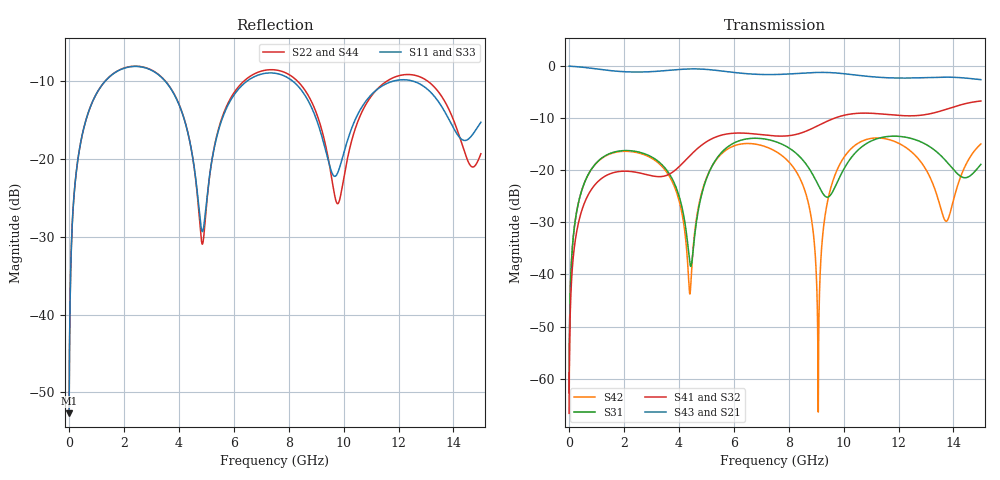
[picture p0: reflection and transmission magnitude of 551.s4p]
! Created with skrf 1.8.0 (http://scikit-rf.org).
# GHz S RI R 50.0
!freq ReS11 ImS11 ReS12 ImS12 ReS13 ImS13
! ReS14 ImS14
! ReS21 ImS21 ReS22 ImS22 ReS23 ImS23
! ReS24 ImS24
! ReS31 ImS31 ReS32 ImS32 ReS33 ImS33
! ReS34 ImS34
! ReS41 ImS41 ReS42 ImS42 ReS43 ImS43
! ReS44 ImS44
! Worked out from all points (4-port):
!   2499 points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, 5 MHz to 15 GHz, reference 50 ohm
!   strongest paths, dB at 5 MHz, 3.476 GHz, 7.19 GHz, 11.1 GHz, 15 GHz:
!     S43: 0.0, -0.9, -1.6, -2.1, -2.6
!     S21: 0.0, -0.9, -1.6, -2.1, -2.6
!     S41: -66.7, -21.1, -13.3, -9.1, -6.7
!     S32: -66.7, -21.1, -13.3, -9.1, -6.7
!     S31: -62.7, -19.4, -14.1, -14.2, -18.9
!     S42: -62.7, -19.8, -15.5, -13.8, -14.9
!   lowest |S11| = -52.7 dB at 5 MHz (marker M1), VSWR 1.00, Z = 50.2 + j0.141 ohm
!   |S11| at or under -10 dB: 3.504 GHz to 6.481 GHz (2.978 GHz wide, 59.6 % of centre); 8.149 GHz to 11.8 GHz (3.65 GHz wide, 36.6 % of centre); 12.53 GHz to end of sweep (the widest 3 of 4)
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0.005  0.00185 0.0014  0.9981 -0.00359  9.32e-05 0.000725  -9.05e-05 -0.000456
       0.9981 -0.00359  0.00185 0.0014  -9.05e-05 -0.000456  9.31e-05 0.000725
       9.32e-05 0.000725  -9.05e-05 -0.000456  0.00185 0.0014  0.9981 -0.00359
       -9.05e-05 -0.000456  9.31e-05 0.000725  0.9981 -0.00359  0.00185 0.0014
1.825761  0.3516 0.12  0.329 -0.8262  0.1516 0.0208  -0.0928 0.0294
          0.329 -0.8262  0.3535 0.1177  -0.0927 0.0292  0.1478 0.0301
          0.1516 0.0208  -0.0927 0.0292  0.3516 0.1199  0.3291 -0.8263
          -0.0928 0.0294  0.1478 0.0301  0.3291 -0.8263  0.3533 0.1178
4.989579  0.039 0.0306  -0.9296 0.0265  0.0209 0.0779  0.0141 0.186
          -0.9296 0.0265  0.0336 0.0319  0.0125 0.1861  0.0147 0.0808
          0.0209 0.0779  0.0125 0.1861  0.0386 0.032  -0.9296 0.0266
          0.0141 0.186  0.0147 0.0808  -0.9296 0.0266  0.034 0.033
8.072113  0.3047 -0.1097  0.2683 0.7979  0.0729 -0.1422  0.1837 -0.1132
          0.2683 0.7979  0.315 -0.137  0.185 -0.1101  0.0928 -0.0681
          0.0729 -0.1422  0.185 -0.1101  0.3048 -0.1087  0.2674 0.7985
          0.1837 -0.1132  0.0928 -0.0681  0.2674 0.7985  0.3138 -0.1369
9.078783  0.1244 -0.1096  0.7187 0.489  -0.0521 -0.0496  0.1428 -0.228
          0.7187 0.489  0.1127 -0.1432  0.1463 -0.2256  -0.000439 0.00019
          -0.0521 -0.0496  0.1463 -0.2256  0.1247 -0.1073  0.7183 0.4901
          0.1428 -0.228  -0.000439 0.00019  0.7183 0.4901  0.1106 -0.1424
10.23551  0.1188 0.0874  0.8194 -0.1482  0.0619 0.1116  -0.0907 -0.3338
          0.8194 -0.1482  0.0878 0.0809  -0.0853 -0.3345  0.095 0.1255
          0.0619 0.1116  -0.0853 -0.3345  0.1219 0.0907  0.8193 -0.1468
          -0.0907 -0.3338  0.095 0.1255  0.8193 -0.1468  0.0854 0.0836
15  0.1631 0.0549  -0.7399 0.00747  0.026 0.111  0.0312 0.461
    -0.7399 0.00747  0.1013 0.0373  0.0208 0.461  0.0666 0.166
    0.026 0.111  0.0208 0.461  0.1649 0.0492  -0.7406 -0.00189
    0.0312 0.461  0.0666 0.166  -0.7406 -0.00189  0.0975 0.0278
